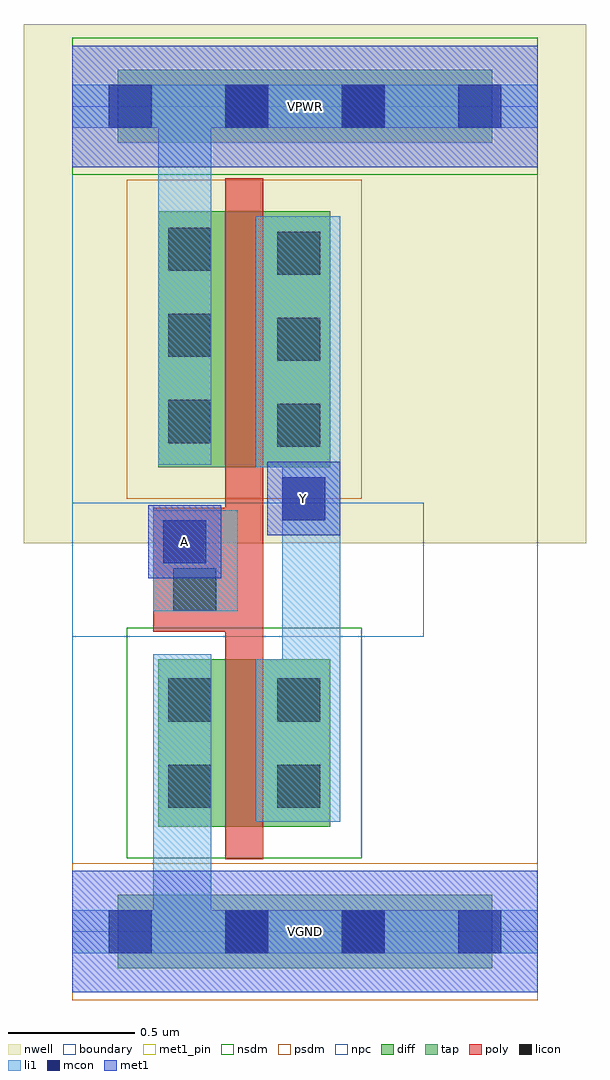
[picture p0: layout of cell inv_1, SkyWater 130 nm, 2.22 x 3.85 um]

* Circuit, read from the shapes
.subckt inv_1 A VGND VPWR Y
XM1 Y A VGND VGND sky130_fd_pr__nfet_01v8 w=0.66 l=0.15
XM2 Y A VPWR VPWR sky130_fd_pr__pfet_01v8 w=1.01 l=0.15
.ends

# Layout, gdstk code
import gdstk
lib = gdstk.Library(unit=1e-6, precision=1e-09)
def R(c, l, rs):  # rectangles x0, y0, x1, y1
    for r in rs: c.add(gdstk.rectangle(r[:2], r[2:], *l))
def A(c, l, x, y, w, h, nx, ny, dx, dy):  # array of equal rectangles
    R(c, l, [(x+i*dx, y+j*dy, x+i*dx+w, y+j*dy+h) for i in range(nx) for j in range(ny)])
nwell = (64, 20)
diff = (65, 20)
tap = (65, 44)
poly = (66, 20)
licon = (66, 44)
li1 = (67, 20)
mcon = (67, 44)
met1_pin = (68, 16)
met1 = (68, 20)
nsdm = (93, 44)
psdm = (94, 20)
npc = (95, 20)
boundary = (235, 4)

inv_1 = lib.new_cell('inv_1')
R(inv_1, nwell, [(-0.19,1.535,2.03,3.585), (0,1.535,1.84,3.585)])
R(inv_1, diff, [(0.34,0.415,1.02,1.075), (0.34,1.835,1.02,2.845)])
R(inv_1, tap, [(0.18,-0.145,1.66,0.145), (0.18,3.115,1.66,3.405)])
R(inv_1, poly, [(0.605,0.285,0.755,2.975), (0.32,1.185,0.755,1.675)])
A(inv_1, licon, 0.81, 1.915, 0.17, 0.17, 1, 3, 0, 0.34)
A(inv_1, licon, 0.38, 1.93, 0.17, 0.17, 1, 3, 0, 0.34)
R(inv_1, licon, [(0.605,-0.085,0.775,0.085), (1.065,-0.085,1.235,0.085), (0.38,0.49,0.55,0.66), (0.81,0.49,0.98,0.66), (0.38,0.83,0.55,1), (0.81,0.83,0.98,1), (0.4,1.265,0.57,1.435), (0.605,3.175,0.775,3.345), (1.065,3.175,1.235,3.345)])
R(inv_1, li1, [(0,-0.085,1.84,0.085), (0.32,-0.085,0.55,1.095), (0.725,0.435,1.06,1.075), (0.83,0.435,1.06,2.825), (0.32,1.265,0.655,1.665), (0.725,1.835,1.06,2.825), (0.34,1.845,0.55,3.345), (0,3.175,1.84,3.345)])
A(inv_1, mcon, 0.145, -0.085, 0.17, 0.17, 4, 2, 0.46, 3.26)
R(inv_1, mcon, [(0.36,1.455,0.53,1.625), (0.83,1.625,1,1.795)])
R(inv_1, met1_pin, [(0,-0.24,1.84,0.24), (0.3,1.395,0.59,1.685), (0.77,1.565,1.06,1.855), (0,3.02,1.84,3.5)])
R(inv_1, met1, [(0,-0.24,1.84,0.24), (0.3,1.395,0.59,1.685), (0.77,1.565,1.06,1.855), (0,3.02,1.84,3.5)])
R(inv_1, nsdm, [(0.215,0.29,1.145,1.2), (0,2.99,1.84,3.53)])
R(inv_1, psdm, [(0,-0.27,1.84,0.27), (0.215,1.71,1.145,2.97)])
R(inv_1, npc, [(0,1.165,1.39,1.695)])
R(inv_1, boundary, [(0,0,1.84,3.26)])
inv_1.add(gdstk.Label('A', (0.445,1.54), layer=68, texttype=5))
inv_1.add(gdstk.Label('Y', (0.915,1.71), layer=68, texttype=5))
inv_1.add(gdstk.Label('VPWR', (0.92,3.26), layer=68, texttype=5))
inv_1.add(gdstk.Label('VGND', (0.92,0), layer=68, texttype=5))
inv_1.add(gdstk.Label('A', (0.445,1.54), layer=68, texttype=16))
inv_1.add(gdstk.Label('Y', (0.915,1.71), layer=68, texttype=16))
inv_1.add(gdstk.Label('VPWR', (0.92,3.26), layer=68, texttype=16))
inv_1.add(gdstk.Label('VGND', (0.92,0), layer=68, texttype=16))

lib.write_gds('inv_1.gds')
